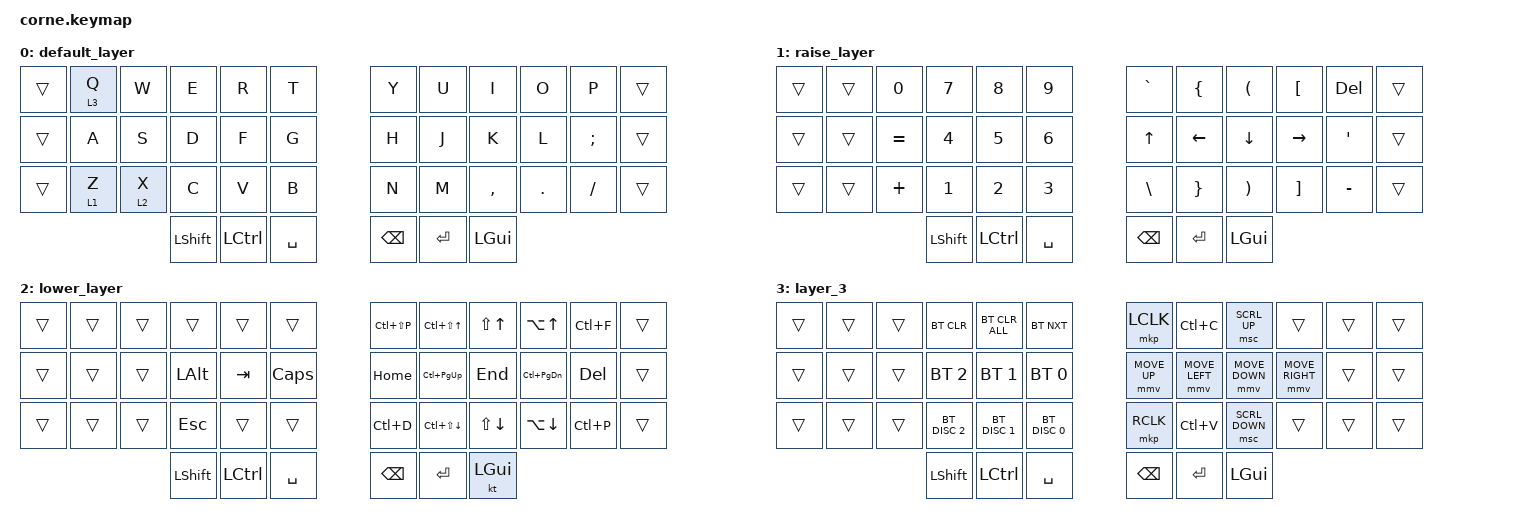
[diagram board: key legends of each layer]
/*
 * Copyright (c) 2020 The ZMK Contributors
 *
 * SPDX-License-Identifier: MIT
 */

#define ZMK_POINTING_DEFAULT_MOVE_VAL 1500
#define ZMK_POINTING_DEFAULT_SCRL_VAL 20

#include <behaviors.dtsi>
#include <dt-bindings/zmk/bt.h>
#include <dt-bindings/zmk/keys.h>
#include <dt-bindings/zmk/pointing.h>

/ {
    macros {
        alt_tab_short_hold: alt_tab_short_hold {
            compatible = "zmk,behavior-macro";
            #binding-cells = <0>;
            wait-ms = <40>;
            tap-ms = <40>;
            bindings =
                <&macro_press>,
                <&kp LEFT_ALT>,
                <&macro_tap>,
                <&kp TAB>,
                <&macro_wait_time 2000>,
                <&macro_release>,
                <&kp LEFT_ALT>;
        };
    };

    keymap {
        compatible = "zmk,keymap";

        default_layer {
            // -----------------------------------------------------------------------------------------
            // |  TAB |  Q  |  W  |  E  |  R  |  T  |   |  Y  |  U   |  I  |  O  |  P  | BKSP |
            // | CTRL |  A  |  S  |  D  |  F  |  G  |   |  H  |  J   |  K  |  L  |  ;  |  '   |
            // | SHFT |  Z  |  X  |  C  |  V  |  B  |   |  N  |  M   |  ,  |  .  |  /  | ESC  |
            //                    | GUI | LWR | SPC |   | ENT | RSE  | ALT |

            bindings = <
&trans  &lt 3 Q  &kp W    &kp E           &kp R             &kp T        &kp Y          &kp U      &kp I         &kp O    &kp P          &trans
&trans  &kp A    &kp S    &kp D           &kp F             &kp G        &kp H          &kp J      &kp K         &kp L    &kp SEMICOLON  &trans
&trans  &lt 1 Z  &lt 2 X  &kp C           &kp V             &kp B        &kp N          &kp M      &kp COMMA     &kp DOT  &kp SLASH      &trans
                          &kp LEFT_SHIFT  &kp LEFT_CONTROL  &kp SPACE    &kp BACKSPACE  &kp ENTER  &kp LEFT_GUI
            >;
        };

        raise_layer {
            // -----------------------------------------------------------------------------------------
            // |  TAB |  !  |  @  |  #  |  $  |  %  |   |  ^  |  &  |  *  |  (  |  )  | BKSP |
            // | CTRL |     |     |     |     |     |   |  -  |  =  |  [  |  ]  |  \  |  `   |
            // | SHFT |     |     |     |     |     |   |  _  |  +  |  {  |  }  | "|" |  ~   |
            //                    | GUI |     | SPC |   | ENT |     | ALT |

            bindings = <
&trans  &trans  &kp NUMBER_0  &kp N7          &kp N8            &kp N9          &kp GRAVE      &kp LEFT_BRACE   &kp LEFT_PARENTHESIS   &kp LEFT_BRACKET   &kp DELETE  &trans
&trans  &trans  &kp EQUAL     &kp NUMBER_4    &kp NUMBER_5      &kp NUMBER_6    &kp UP_ARROW   &kp LEFT_ARROW   &kp DOWN_ARROW         &kp RIGHT_ARROW    &kp SQT     &trans
&trans  &trans  &kp PLUS      &kp NUMBER_1    &kp NUMBER_2      &kp NUMBER_3    &kp BACKSLASH  &kp RIGHT_BRACE  &kp RIGHT_PARENTHESIS  &kp RIGHT_BRACKET  &kp MINUS   &trans
                              &kp LEFT_SHIFT  &kp LEFT_CONTROL  &kp SPACE       &kp BACKSPACE  &kp ENTER        &kp LEFT_GUI
            >;
        };

        lower_layer {
            // -----------------------------------------------------------------------------------------
            // |  TAB |  1  |  2  |  3  |  4  |  5  |   |  6  |  7  |  8  |  9  |  0  | BKSP |
            // | BTCLR| BT1 | BT2 | BT3 | BT4 | BT5 |   | LFT | DWN |  UP | RGT |     |      |
            // | SHFT |     |     |     |     |     |   |     |     |     |     |     |      |
            //                    | GUI |     | SPC |   | ENT |     | ALT |

            bindings = <
&trans  &trans  &trans  &trans          &trans            &trans          &kp LC(LS(P))  &kp LC(LS(UP_ARROW))    &kp LS(UP_ARROW)    &kp LA(UP_ARROW)   &kp LC(F)  &trans
&trans  &trans  &trans  &kp LEFT_ALT    &kp TAB           &kp CAPSLOCK    &kp HOME       &kp LC(PAGE_UP)         &kp END             &kp LC(PAGE_DOWN)  &kp DEL    &trans
&trans  &trans  &trans  &kp ESCAPE      &trans            &trans          &kp LC(D)      &kp LC(LS(DOWN_ARROW))  &kp LS(DOWN_ARROW)  &kp LA(DOWN)       &kp LC(P)  &trans
                        &kp LEFT_SHIFT  &kp LEFT_CONTROL  &kp SPACE       &kp BACKSPACE  &kp ENTER               &kt LEFT_GUI
            >;
        };

        layer_3 {
            bindings = <
&trans  &trans  &trans  &bt BT_CLR      &bt BT_CLR_ALL    &bt BT_NXT       &mkp LCLK      &kp LC(C)       &msc SCRL_UP    &trans           &trans  &trans
&trans  &trans  &trans  &bt BT_SEL 2    &bt BT_SEL 1      &bt BT_SEL 0     &mmv MOVE_UP   &mmv MOVE_LEFT  &mmv MOVE_DOWN  &mmv MOVE_RIGHT  &trans  &trans
&trans  &trans  &trans  &bt BT_DISC 2   &bt BT_DISC 1     &bt BT_DISC 0    &mkp RCLK      &kp LC(V)       &msc SCRL_DOWN  &trans           &trans  &trans
                        &kp LEFT_SHIFT  &kp LEFT_CONTROL  &kp SPACE        &kp BACKSPACE  &kp ENTER       &kp LEFT_GUI
            >;
        };
    };
};
